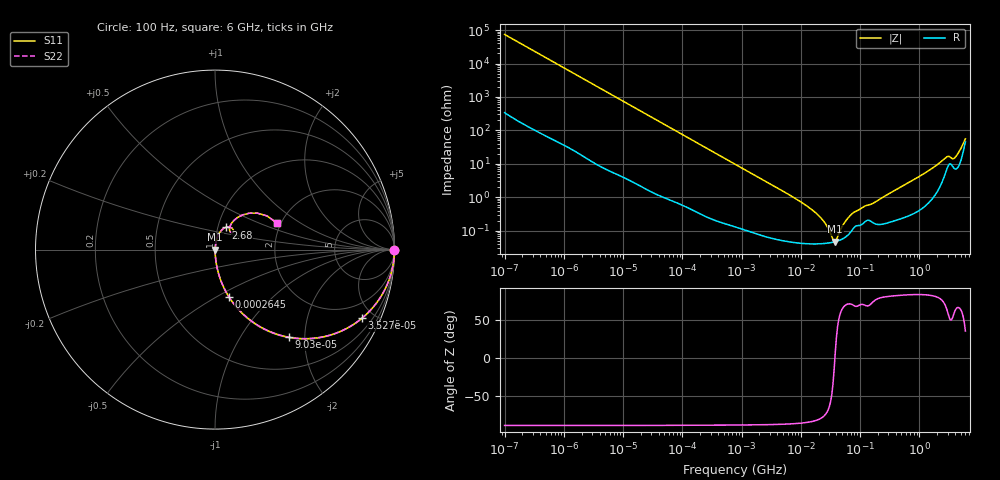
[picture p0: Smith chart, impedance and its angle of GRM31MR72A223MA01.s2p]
!Murata Part Number: GRM31MR72A223MA01
!These Parameters are Measured in Series Mode Connection
!Data Generated on Mar 30, 2021
!  o--ll--o
!Port1  Port2
!  o------o
!Operation Temp=25[degC], DC Bias Voltage=0[V]
!Freq. Start=100[Hz] Stop=6[GHz] 401[Steps]
# Hz S RI R 50
!Freq.(Hz) S11(Real) S11(Imag) S21(Real) S21(Imag) S12(Real) S12(Imag) S22(Real) S22(Imag)
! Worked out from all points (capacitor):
!   401 points, 100 Hz to 6 GHz, reference 50 ohm
!   read as one part in series: C = 21.5 nF near 109 Hz
!   lowest |Z| = 47.2 mohm at 38.09 MHz (marker M1)
!   series resonance near 37.62 MHz, so ESL is about 830 pH
!   S11 on the Smith chart (normalised r, x): 100 Hz: open; 35.27 kHz: 1.03, -4.27; 90.3 kHz: 1.01, -1.68; 264.5 kHz: 1.01, -0.57; 2.68 GHz: 1.09, +0.27; 6 GHz: 1.91, +0.66
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100  1 -0.00135  8e-06 0.00135  8e-06 0.00135  1 -0.00135
2008  0.9991 -0.0269  0.00085 0.0269  0.00085 0.0269  0.9991 -0.0269
9626  0.9832 -0.126  0.0168 0.126  0.0168 0.126  0.9832 -0.126
35265  0.8189 -0.3821  0.1811 0.3821  0.1811 0.3821  0.8189 -0.3821
40335  0.7761 -0.4138  0.2239 0.4138  0.2239 0.4138  0.7761 -0.4138
90302  0.413 -0.4887  0.587 0.4887  0.587 0.4887  0.413 -0.4887
154540  0.1961 -0.393  0.8039 0.393  0.8039 0.393  0.1961 -0.393
264476  0.0783 -0.2643  0.9217 0.2643  0.9217 0.2643  0.0783 -0.2643
774597  0.0109 -0.0974  0.9891 0.0974  0.9891 0.0974  0.0109 -0.0974
6353432  0.000604 -0.0119  0.9994 0.0119  0.9994 0.0119  0.000604 -0.0119
1.555665e7  0.000419 -0.00415  0.9996 0.00415  0.9996 0.00415  0.000419 -0.00415
2.434276e7  0.000416 -0.00187  0.9996 0.00187  0.9996 0.00187  0.000416 -0.00187
3.482834e7  0.000452 -0.000322  0.9995 0.000322  0.9995 0.000322  0.000452 -0.000322
3.80911e7  0.000469 5.31e-05  0.9995 -5.31e-05  0.9995 -5.31e-05  0.000469 5.31e-05
5.449875e7  0.000614 0.00161  0.9994 -0.00161  0.9994 -0.00161  0.000614 0.00161
7.455971e7  0.00108 0.0031  0.9989 -0.0031  0.9989 -0.0031  0.00108 0.0031
3.124326e8  0.00193 0.0128  0.9981 -0.0128  0.9981 -0.0128  0.00193 0.0128
1.251881e9  0.00814 0.0524  0.9919 -0.0524  0.9919 -0.0524  0.00814 0.0524
2.679998e9  0.0593 0.1235  0.9407 -0.1235  0.9407 -0.1235  0.0593 0.1235
3.8344e9  0.0815 0.1055  0.9185 -0.1055  0.9185 -0.1055  0.0815 0.1055
4.796499e9  0.1269 0.1795  0.8731 -0.1795  0.8731 -0.1795  0.1269 0.1795
6e9  0.3453 0.148  0.6547 -0.148  0.6547 -0.148  0.3453 0.148
